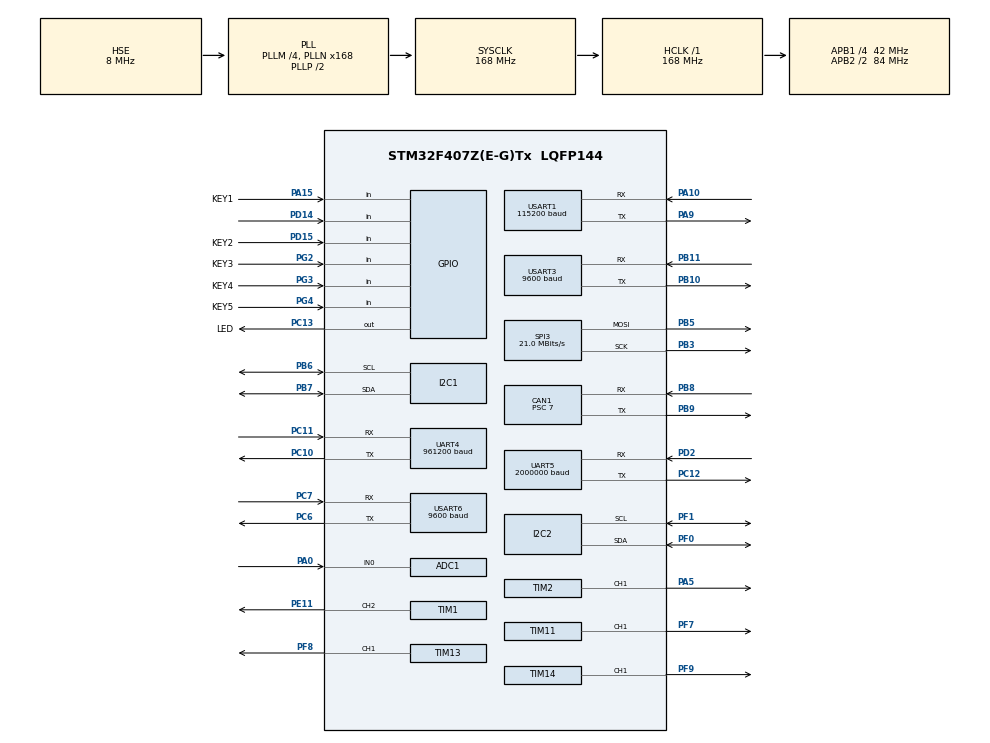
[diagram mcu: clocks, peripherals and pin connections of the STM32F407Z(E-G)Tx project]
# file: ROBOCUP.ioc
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ADC1.Channel-0\#ChannelRegularConversion=ADC_CHANNEL_0
ADC1.NbrOfConversionFlag=1
ADC1.Rank-0\#ChannelRegularConversion=1
ADC1.SamplingTime-0\#ChannelRegularConversion=ADC_SAMPLETIME_3CYCLES
ADC1.master=1
CAN1.ABOM=ENABLE
CAN1.BS1=CAN_BS1_4TQ
CAN1.CalculateBaudRate=999999
CAN1.CalculateTimeBit=1000
CAN1.CalculateTimeQuantum=166.66666666666669
CAN1.Prescaler=7
Dma.Request0=USART1_RX
Dma.Request1=USART1_TX
Dma.Request2=UART4_RX
Dma.Request3=UART4_TX
Dma.Request4=USART6_RX
Dma.Request5=USART6_TX
Dma.Request6=UART5_TX
Dma.Request7=UART5_RX
Dma.UART4_RX.2.Direction=DMA_PERIPH_TO_MEMORY
Dma.UART4_RX.2.FIFOMode=DMA_FIFOMODE_DISABLE
Dma.UART4_RX.2.Instance=DMA1_Stream2
Dma.UART4_RX.2.MemDataAlignment=DMA_MDATAALIGN_BYTE
Dma.UART4_RX.2.MemInc=DMA_MINC_ENABLE
Dma.UART4_RX.2.Mode=DMA_NORMAL
Dma.UART4_RX.2.PeriphDataAlignment=DMA_PDATAALIGN_BYTE
Dma.UART4_RX.2.PeriphInc=DMA_PINC_DISABLE
Dma.UART4_RX.2.Priority=DMA_PRIORITY_MEDIUM
Dma.UART4_TX.3.Direction=DMA_MEMORY_TO_PERIPH
Dma.UART4_TX.3.FIFOMode=DMA_FIFOMODE_DISABLE
Dma.UART4_TX.3.Instance=DMA1_Stream4
Dma.UART4_TX.3.MemDataAlignment=DMA_MDATAALIGN_BYTE
Dma.UART4_TX.3.MemInc=DMA_MINC_ENABLE
Dma.UART4_TX.3.Mode=DMA_NORMAL
Dma.UART4_TX.3.PeriphDataAlignment=DMA_PDATAALIGN_BYTE
Dma.UART4_TX.3.PeriphInc=DMA_PINC_DISABLE
Dma.UART4_TX.3.Priority=DMA_PRIORITY_MEDIUM
Dma.UART5_RX.7.Direction=DMA_PERIPH_TO_MEMORY
Dma.UART5_RX.7.FIFOMode=DMA_FIFOMODE_DISABLE
Dma.UART5_RX.7.Instance=DMA1_Stream0
Dma.UART5_RX.7.MemDataAlignment=DMA_MDATAALIGN_BYTE
Dma.UART5_RX.7.MemInc=DMA_MINC_ENABLE
Dma.UART5_RX.7.Mode=DMA_NORMAL
Dma.UART5_RX.7.PeriphDataAlignment=DMA_PDATAALIGN_BYTE
Dma.UART5_RX.7.PeriphInc=DMA_PINC_DISABLE
Dma.UART5_RX.7.Priority=DMA_PRIORITY_HIGH
Dma.UART5_TX.6.Direction=DMA_MEMORY_TO_PERIPH
Dma.UART5_TX.6.FIFOMode=DMA_FIFOMODE_DISABLE
Dma.UART5_TX.6.Instance=DMA1_Stream7
Dma.UART5_TX.6.MemDataAlignment=DMA_MDATAALIGN_BYTE
Dma.UART5_TX.6.MemInc=DMA_MINC_ENABLE
Dma.UART5_TX.6.Mode=DMA_NORMAL
Dma.UART5_TX.6.PeriphDataAlignment=DMA_PDATAALIGN_BYTE
Dma.UART5_TX.6.PeriphInc=DMA_PINC_DISABLE
Dma.UART5_TX.6.Priority=DMA_PRIORITY_HIGH
Dma.USART1_RX.0.Direction=DMA_PERIPH_TO_MEMORY
Dma.USART1_RX.0.FIFOMode=DMA_FIFOMODE_DISABLE
Dma.USART1_RX.0.Instance=DMA2_Stream5
Dma.USART1_RX.0.MemDataAlignment=DMA_MDATAALIGN_BYTE
Dma.USART1_RX.0.MemInc=DMA_MINC_ENABLE
Dma.USART1_RX.0.Mode=DMA_NORMAL
Dma.USART1_RX.0.PeriphDataAlignment=DMA_PDATAALIGN_BYTE
Dma.USART1_RX.0.PeriphInc=DMA_PINC_DISABLE
Dma.USART1_RX.0.Priority=DMA_PRIORITY_MEDIUM
Dma.USART1_TX.1.Direction=DMA_MEMORY_TO_PERIPH
Dma.USART1_TX.1.FIFOMode=DMA_FIFOMODE_DISABLE
Dma.USART1_TX.1.Instance=DMA2_Stream7
Dma.USART1_TX.1.MemDataAlignment=DMA_MDATAALIGN_BYTE
Dma.USART1_TX.1.MemInc=DMA_MINC_ENABLE
Dma.USART1_TX.1.Mode=DMA_NORMAL
Dma.USART1_TX.1.PeriphDataAlignment=DMA_PDATAALIGN_BYTE
Dma.USART1_TX.1.PeriphInc=DMA_PINC_DISABLE
Dma.USART1_TX.1.Priority=DMA_PRIORITY_MEDIUM
Dma.USART6_RX.4.Direction=DMA_PERIPH_TO_MEMORY
Dma.USART6_RX.4.FIFOMode=DMA_FIFOMODE_DISABLE
Dma.USART6_RX.4.Instance=DMA2_Stream1
Dma.USART6_RX.4.MemDataAlignment=DMA_MDATAALIGN_BYTE
Dma.USART6_RX.4.MemInc=DMA_MINC_ENABLE
Dma.USART6_RX.4.Mode=DMA_NORMAL
Dma.USART6_RX.4.PeriphDataAlignment=DMA_PDATAALIGN_BYTE
Dma.USART6_RX.4.PeriphInc=DMA_PINC_DISABLE
Dma.USART6_RX.4.Priority=DMA_PRIORITY_LOW
Dma.USART6_TX.5.Direction=DMA_MEMORY_TO_PERIPH
Dma.USART6_TX.5.FIFOMode=DMA_FIFOMODE_DISABLE
Dma.USART6_TX.5.Instance=DMA2_Stream6
Dma.USART6_TX.5.MemDataAlignment=DMA_MDATAALIGN_BYTE
Dma.USART6_TX.5.MemInc=DMA_MINC_ENABLE
Dma.USART6_TX.5.Mode=DMA_NORMAL
Dma.USART6_TX.5.PeriphDataAlignment=DMA_PDATAALIGN_BYTE
Dma.USART6_TX.5.PeriphInc=DMA_PINC_DISABLE
Dma.USART6_TX.5.Priority=DMA_PRIORITY_LOW
FREERTOS.INCLUDE_vTaskDelayUntil=1
FREERTOS.Tasks01=defaultTask,0,128,StartDefaultTask,Default,NULL,Dynamic,NULL,NULL
Mcu.Family=STM32F4
Mcu.Name=STM32F407Z(E-G)Tx
Mcu.Package=LQFP144
NVIC.ADC_IRQn=true\:5\:0\:true\:false\:true\:true\:true\:true\:true
NVIC.CAN1_RX0_IRQn=true\:5\:0\:false\:false\:true\:true\:true\:true\:true
NVIC.DMA1_Stream0_IRQn=true\:5\:0\:true\:false\:true\:true\:false\:true\:true
NVIC.DMA1_Stream2_IRQn=true\:5\:0\:true\:false\:true\:true\:false\:true\:true
NVIC.DMA1_Stream4_IRQn=true\:5\:0\:true\:false\:true\:true\:false\:true\:true
NVIC.DMA1_Stream7_IRQn=true\:5\:0\:true\:false\:true\:true\:false\:true\:true
NVIC.DMA2_Stream1_IRQn=true\:5\:0\:true\:false\:true\:true\:false\:true\:true
NVIC.DMA2_Stream5_IRQn=true\:5\:0\:true\:false\:true\:true\:false\:true\:true
NVIC.DMA2_Stream6_IRQn=true\:5\:0\:true\:false\:true\:true\:false\:true\:true
NVIC.DMA2_Stream7_IRQn=true\:5\:0\:true\:false\:true\:true\:false\:true\:true
NVIC.PriorityGroup=NVIC_PRIORITYGROUP_4
NVIC.TIM6_DAC_IRQn=true\:5\:0\:true\:false\:true\:true\:true\:true\:true
NVIC.TIM8_BRK_TIM12_IRQn=true\:15\:0\:false\:false\:true\:false\:false\:true\:true
NVIC.TIM8_UP_TIM13_IRQn=true\:5\:0\:false\:false\:true\:false\:false\:true\:true
NVIC.TimeBase=TIM8_BRK_TIM12_IRQn
NVIC.TimeBaseIP=TIM12
NVIC.UART4_IRQn=true\:5\:0\:true\:false\:true\:true\:true\:true\:true
NVIC.UART5_IRQn=true\:5\:0\:true\:false\:true\:true\:true\:true\:true
NVIC.USART1_IRQn=true\:5\:0\:true\:false\:true\:true\:true\:true\:true
NVIC.USART3_IRQn=true\:5\:0\:true\:false\:true\:true\:true\:true\:true
NVIC.USART6_IRQn=true\:5\:0\:true\:false\:true\:true\:true\:true\:true
PA0-WKUP.Signal=ADCx_IN0
PA10.Mode=Asynchronous
PA10.Signal=USART1_RX
PA13.Mode=Serial_Wire
PA13.Signal=SYS_JTMS-SWDIO
PA14.Mode=Serial_Wire
PA14.Signal=SYS_JTCK-SWCLK
PA15.GPIO_Label=KEY1
PA15.GPIO_PuPd=GPIO_PULLUP
PA15.Signal=GPIO_Input
PA5.Signal=S_TIM2_CH1_ETR
PA9.Mode=Asynchronous
PA9.Signal=USART1_TX
PB10.Mode=Asynchronous
PB10.Signal=USART3_TX
PB11.Mode=Asynchronous
PB11.Signal=USART3_RX
PB3.Mode=TX_Only_Simplex_Unidirect_Master
PB3.Signal=SPI3_SCK
PB5.Mode=TX_Only_Simplex_Unidirect_Master
PB5.Signal=SPI3_MOSI
PB6.Mode=I2C
PB6.Signal=I2C1_SCL
PB7.Mode=I2C
PB7.Signal=I2C1_SDA
PB8.Mode=CAN_Activate
PB8.Signal=CAN1_RX
PB9.Mode=CAN_Activate
PB9.Signal=CAN1_TX
PC10.Mode=Asynchronous
PC10.Signal=UART4_TX
PC11.Mode=Asynchronous
PC11.Signal=UART4_RX
PC12.Mode=Asynchronous
PC12.Signal=UART5_TX
PC13-ANTI_TAMP.GPIO_Label=LED
PC13-ANTI_TAMP.Signal=GPIO_Output
PC14-OSC32_IN.Mode=LSE-External-Oscillator
PC14-OSC32_IN.Signal=RCC_OSC32_IN
PC15-OSC32_OUT.Mode=LSE-External-Oscillator
PC15-OSC32_OUT.Signal=RCC_OSC32_OUT
PC6.Mode=Asynchronous
PC6.Signal=USART6_TX
PC7.Mode=Asynchronous
PC7.Signal=USART6_RX
PD14.GPIO_PuPd=GPIO_PULLUP
PD14.Signal=GPIO_Input
PD15.GPIO_Label=KEY2
PD15.GPIO_PuPd=GPIO_PULLUP
PD15.Signal=GPIO_Input
PD2.Mode=Asynchronous
PD2.Signal=UART5_RX
PE11.Signal=S_TIM1_CH2
PF0.Mode=I2C
PF0.Signal=I2C2_SDA
PF1.Mode=I2C
PF1.Signal=I2C2_SCL
PF7.Signal=S_TIM11_CH1
PF8.Signal=S_TIM13_CH1
PF9.Signal=S_TIM14_CH1
PG2.GPIO_Label=KEY3
PG2.GPIO_PuPd=GPIO_PULLUP
PG2.Signal=GPIO_Input
PG3.GPIO_Label=KEY4
PG3.GPIO_PuPd=GPIO_PULLUP
PG3.Signal=GPIO_Input
PG4.GPIO_Label=KEY5
PG4.GPIO_PuPd=GPIO_PULLUP
PG4.Signal=GPIO_Input
PH0-OSC_IN.Mode=HSE-External-Oscillator
PH0-OSC_IN.Signal=RCC_OSC_IN
PH1-OSC_OUT.Mode=HSE-External-Oscillator
PH1-OSC_OUT.Signal=RCC_OSC_OUT
ProjectManager.HeapSize=0x1000
ProjectManager.StackSize=0x2000
ProjectManager.TargetToolchain=MDK-ARM V5.32
RCC.48MHZClocksFreq_Value=84000000
RCC.AHBFreq_Value=168000000
RCC.APB1CLKDivider=RCC_HCLK_DIV4
RCC.APB1Freq_Value=42000000
RCC.APB1TimFreq_Value=84000000
RCC.APB2CLKDivider=RCC_HCLK_DIV2
RCC.APB2Freq_Value=84000000
RCC.APB2TimFreq_Value=168000000
RCC.CortexFreq_Value=168000000
RCC.HCLKFreq_Value=168000000
RCC.HSE_VALUE=8000000
RCC.HSI_VALUE=16000000
RCC.PLLM=4
RCC.PLLN=168
RCC.PLLSourceVirtual=RCC_PLLSOURCE_HSE
RCC.SYSCLKFreq_VALUE=168000000
RCC.SYSCLKSource=RCC_SYSCLKSOURCE_PLLCLK
RCC.VCOOutputFreq_Value=336000000
SH.ADCx_IN0.0=ADC1_IN0,IN0
SH.S_TIM11_CH1.0=TIM11_CH1,PWM Generation1 CH1
SH.S_TIM13_CH1.0=TIM13_CH1,PWM Generation1 CH1
SH.S_TIM14_CH1.0=TIM14_CH1,PWM Generation1 CH1
SH.S_TIM1_CH2.0=TIM1_CH2,PWM Generation2 CH2
SH.S_TIM2_CH1_ETR.0=TIM2_CH1,PWM Generation1 CH1
SPI3.BaudRatePrescaler=SPI_BAUDRATEPRESCALER_2
SPI3.CLKPhase=SPI_PHASE_1EDGE
SPI3.CLKPolarity=SPI_POLARITY_LOW
SPI3.CalculateBaudRate=21.0 MBits/s
SPI3.DataSize=SPI_DATASIZE_8BIT
SPI3.Direction=SPI_DIRECTION_2LINES
SPI3.FirstBit=SPI_FIRSTBIT_MSB
SPI3.Mode=SPI_MODE_MASTER
SPI3.NSS=SPI_NSS_SOFT
SPI3.VirtualType=VM_MASTER
TIM1.Channel-PWM\ Generation2\ CH2=TIM_CHANNEL_2
TIM1.Period=19999
TIM1.Prescaler=167
TIM1.Pulse-PWM\ Generation2\ CH2=1500
TIM11.Channel=TIM_CHANNEL_1
TIM11.Period=19999
TIM11.Prescaler=167
TIM11.Pulse-PWM\ Generation1\ CH1=1500
TIM13.Channel=TIM_CHANNEL_1
TIM13.Period=19999
TIM13.Prescaler=83
TIM13.Pulse-PWM\ Generation1\ CH1=1500
TIM14.Channel=TIM_CHANNEL_1
TIM14.Period=19999
TIM14.Prescaler=83
TIM14.Pulse-PWM\ Generation1\ CH1=1500
TIM2.Channel-PWM\ Generation1\ CH1=TIM_CHANNEL_1
TIM2.Period=1000-1
TIM2.Prescaler=168-1
TIM2.Pulse-PWM\ Generation1\ CH1=0
TIM6.Period=167
TIM6.Prescaler=4999
UART4.BaudRate=961200
UART4.VirtualMode=Asynchronous
UART5.BaudRate=2000000
UART5.VirtualMode=Asynchronous
USART1.BaudRate=115200
USART1.VirtualMode=VM_ASYNC
USART3.BaudRate=9600
USART3.VirtualMode=VM_ASYNC
USART6.BaudRate=9600
USART6.VirtualMode=VM_ASYNC
VP_FREERTOS_VS_CMSIS_V1.Mode=CMSIS_V1
VP_SYS_VS_tim12.Mode=TIM12
VP_TIM11_VS_ClockSourceINT.Mode=Enable_Timer
VP_TIM13_VS_ClockSourceINT.Mode=Enable_Timer
VP_TIM14_VS_ClockSourceINT.Mode=Enable_Timer
VP_TIM1_VS_ClockSourceINT.Mode=Internal
VP_TIM6_VS_ClockSourceINT.Mode=Enable_Timer
board=custom

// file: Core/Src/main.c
/* USER CODE BEGIN Header */
/**
 ******************************************************************************
 * @file           : main.c
 * @brief          : Main program body
 ******************************************************************************
 * @attention
 *
 * Copyright (c) 2025 STMicroelectronics.
 * All rights reserved.
 *
 * This software is licensed under terms that can be found in the LICENSE file
 * in the root directory of this software component.
 * If no LICENSE file comes with this software, it is provided AS-IS.
 *
 ******************************************************************************
 */
/* USER CODE END Header */
#include "main.h"
#include "cmsis_os.h"
#include "adc.h"
#include "can.h"
#include "dma.h"
#include "i2c.h"
#include "spi.h"
#include "tim.h"
#include "usart.h"
#include "gpio.h"

/* USER CODE BEGIN Includes */
#include "stdio.h"
#include <string.h>
#include "key.h"
#include "lcd_spi_154.h"
#include "control.h"
#include "woniudonghua.h"
#include "usart_manager.h"
#include "userkey.h"
#include "servo.h"
#include "odometer.h"
#include "graysensor.h"
#include "vision.h"
#include "QAma.h"
#include "ai_tune.h"
#include "motion.h"
#include "task1.h"
/* USER CODE END Includes */

/* USER CODE BEGIN PTD */
#if (AI_TUNE_MODE_ENABLE != 0U)
typedef struct {
	float x_mm;
	float y_mm;
	float yaw_deg;
} ai_tune_pose_t;
#endif

/* USER CODE END PTD */

/* USER CODE BEGIN PD */
#if (AI_TUNE_MODE_ENABLE != 0U)
#define AI_TUNE_TRAJECTORY_COUNT 4U
#define AI_TUNE_TRAJECTORY_HOLD_MS 300U
#endif
#define ROBOT_CONTROL_BUDGET_US 1000U

/* USER CODE END PD */

/* USER CODE BEGIN PV */
AppContext_t app_ctx = {
        .qa_tx_buf = {0x7E, 0x00, 0x08, 0x01, 0x00, 0x02, 0x01, 0xAB, 0xCD},
        .gy33_white_balance_cmd = {0xA5, 0xbb, 0x60},
        .gy33_read_cmd = {0xA5, 0xCC, 0x71},
		.gy33_baud_9600_cmd = {0xA5, 0xAE, 0x54},
		.gy33_range_24ms_cmd = {0xA5, 0x5B, 0x00},
        .chassis_velocity_mode = 1,
				.debug_enable = AI_TUNE_MODE_ENABLE,
};
#if (AI_TUNE_MODE_ENABLE != 0U)
static const ai_tune_pose_t ai_tune_trajectory[AI_TUNE_TRAJECTORY_COUNT] = {
		{-1200.0f, 0.0f, 0.0f},
		{-1200.0f, 800.0f, -90.0f},
		{0.0f, 0.0f, -90.0f},
		{0.0f, 0.0f, 0.0f},
};
static uint8_t ai_tune_trajectory_active;
static uint8_t ai_tune_trajectory_index;
static uint32_t ai_tune_trajectory_hold_start_ms;
static uint8_t ai_tune_servo_initialized;
#endif
volatile uint32_t robot_control_current_us;
volatile uint32_t robot_control_max_us;
volatile uint32_t robot_control_overrun_count;
static uint32_t robot_control_cycles_per_us;
/* USER CODE END PV */

void SystemClock_Config(void);
void MX_FREERTOS_Init(void);
/* USER CODE BEGIN PFP */
void Robot_ServiceTick(void);
/* USER CODE END PFP */

/* USER CODE BEGIN 0 */
static void Robot_ControlTiming_Reset(void)
{
	robot_control_current_us = 0U;
	robot_control_max_us = 0U;
	robot_control_overrun_count = 0U;
}

static void Robot_ControlTiming_Init(void)
{
	CoreDebug->DEMCR |= CoreDebug_DEMCR_TRCENA_Msk;
	DWT->CYCCNT = 0U;
	DWT->CTRL |= DWT_CTRL_CYCCNTENA_Msk;
	robot_control_cycles_per_us = SystemCoreClock / 1000000U;
	if (robot_control_cycles_per_us == 0U) {
		robot_control_cycles_per_us = 1U;
	}
	Robot_ControlTiming_Reset();
}

static void Robot_ControlTiming_Update(uint32_t start_cycle)
{
	uint32_t elapsed_us = (DWT->CYCCNT - start_cycle) /
	        robot_control_cycles_per_us;

	robot_control_current_us = elapsed_us;
	if (elapsed_us > robot_control_max_us) {
		robot_control_max_us = elapsed_us;
	}
	if (elapsed_us > ROBOT_CONTROL_BUDGET_US) {
		robot_control_overrun_count++;
	}
}

#if (AI_TUNE_MODE_ENABLE != 0U)
static void ai_tune_start_trajectory(float max_speed_mps)
{
	ai_tune_trajectory_active = 1U;
	ai_tune_trajectory_index = 0U;
	ai_tune_trajectory_hold_start_ms = 0U;
	PositionControl_SetMaxSpeed(max_speed_mps);
	SetTargetPose(ai_tune_trajectory[0].x_mm, ai_tune_trajectory[0].y_mm,
	        ai_tune_trajectory[0].yaw_deg);
}

static void ai_tune_update_trajectory(void)
{
	if (ai_tune_trajectory_active == 0U) {
		return;
	}

	if (ai_tune_is_guarded()) {
		ai_tune_trajectory_active = 0U;
		return;
	}

	if ((ai_tune_trajectory_hold_start_ms == 0U) &&
			(!IsPoseReached(raceh, POSE_YAW_TOLERANCE_DEG))) {
		return;
	}

	if (ai_tune_trajectory_index >= (AI_TUNE_TRAJECTORY_COUNT - 1U)) {
		ai_tune_trajectory_active = 0U;
		Start_flag = 0U;
		PositionControl_Enable(0U);
		EnableAttitudeStabilization(0U);
		stop();
		return;
	}

	if (ai_tune_trajectory_hold_start_ms == 0U) {
		ai_tune_trajectory_hold_start_ms = HAL_GetTick();
		return;
	}

	if ((HAL_GetTick() - ai_tune_trajectory_hold_start_ms) <
	        AI_TUNE_TRAJECTORY_HOLD_MS) {
		return;
	}

	ai_tune_trajectory_index++;
	ai_tune_trajectory_hold_start_ms = 0U;
	SetTargetPose(ai_tune_trajectory[ai_tune_trajectory_index].x_mm,
	        ai_tune_trajectory[ai_tune_trajectory_index].y_mm,
	        ai_tune_trajectory[ai_tune_trajectory_index].yaw_deg);
}
#endif
/* USER CODE END 0 */

int main(void)
{

  /* MCU Configuration--------------------------------------------------------*/

  /* Reset of all peripherals, Initializes the Flash interface and the Systick. */
  HAL_Init();

  /* Configure the system clock */
  SystemClock_Config();

  /* USER CODE BEGIN SysInit */
	Robot_ControlTiming_Init();

  /* USER CODE END SysInit */

  /* Initialize all configured peripherals */
  MX_GPIO_Init();
  MX_DMA_Init();
  MX_I2C1_Init();
  MX_I2C2_Init();
  MX_SPI3_Init();
  MX_UART4_Init();
  MX_UART5_Init();
  MX_USART1_UART_Init();
  MX_USART3_UART_Init();
  MX_USART6_UART_Init();
  MX_TIM1_Init();
  MX_TIM6_Init();
  MX_TIM13_Init();
  MX_TIM11_Init();
  MX_TIM14_Init();
  MX_TIM2_Init();
  MX_ADC1_Init();
  MX_CAN1_Init();
  /* USER CODE BEGIN 2 */
	/* 板载 LCD 用于启动阶段状态提示。 */
	SPI_LCD_Init();
	LCD_Clear();
	LCD_DisplayText(48, 0, "Initting...");

	/* UART4 接入里程计，使用 DMA + IDLE 中断获得完整帧。 */
	Usart4_DMA_IDLE_Init();
	HAL_UART_Receive_DMA(&huart4, (uint8_t *)rxCmd, CMD_LEN);

	/* CAN1 用于 X42 电机和其他 CAN 设备通信。 */
	USER_CAN1_Filter_Init();
	if (HAL_CAN_Start(&hcan1) != HAL_OK) {
		Error_Handler();
	}
	if (HAL_CAN_ActivateNotification(&hcan1,
	        CAN_IT_RX_FIFO0_MSG_PENDING | CAN_IT_TX_MAILBOX_EMPTY) !=
	        HAL_OK) {
		Error_Handler();
	}
	task1_state.active = 0;
	task1_state.completed = 0;
	task2_state.active = 0;
	task2_state.completed = 0;
	/* 麦轮几何参数和速度上限在启动时写入控制模块。 */
	ChassisConfig_t config = {.wheel_radius = 0.077f,
	        .wheel_dist_x = 0.0759f,
	        .wheel_dist_y = 0.085f,
	        .max_rpm = CHASSIS_OPEN_LOOP_MAX_RPM};
	Mecanum_Init(config);
	/* 复位后立即下发四轮 0 RPM，清除电机保留的上一条速度指令。 */
	Mecanum_SendVelocity();
//					Emm_V5_Pos_Control(TURNPLATE_MOTOR_ADDR, TURNPLATE_CW,
//	        TURNPLATE_SPEED_RPM, TURNPLATE_ACCEL,
//	        0, 1U, 0U);
//	Emm_V5_En_Control(TURNPLATE_MOTOR_ADDR, 1U, 0U);
	HAL_Delay(5U);
#if (TURNPLATE_ORIGIN_SAVE_ON_STARTUP != 0U)
	Emm_V5_Origin_Set_O(TURNPLATE_MOTOR_ADDR, 1U);
#else
//	Emm_V5_Origin_Trigger_Return(TURNPLATE_sMOTOR_ADDR,
//	        TURNPLATE_ORIGIN_MODE, 0U);
//					Emm_V5_Origin_Modify_Params(TURNPLATE_MOTOR_ADDR, 1U, 0, 0, );
#endif

	/* 等待里程计上电后进入稳定输出，再初始化零点状态。 */
	HAL_Delay(2000);
					Emm_V5_Origin_Interrupt(TURNPLATE_MOTOR_ADDR);
										HAL_Delay(100);
					Emm_V5_Pos_Control(TURNPLATE_MOTOR_ADDR, TURNPLATE_CW,
	        TURNPLATE_SPEED_RPM, TURNPLATE_ACCEL,
	        control_ctx.material_position_pulses[1] , 1U, 0U);
	turnplate_sync_position(1U);
	odometer_init();
	/* 控制环模块初始化：视觉、位置、位姿协同和姿态环。 */
	vision_init();
	ai_tune_init();
	PositionControl_Init();
	PoseCoordination_Init();
	AttitudeStabilization_Init();
	memset(rx_data, 0, sizeof(rx_data));
	/* USART3 颜色传感器按字节中断接收。 */
	HAL_UART_Receive_IT(&huart3, rx_data, 1);
	/* USART3 颜色传感器白平衡校准。 */
//	HAL_UART_Transmit(&huart3, gy33sendbuffer1, APP_GY33_CMD_LEN, 100U);
	/* GY-33 固定为 9600 bps，并将采集量程设置为 24 ms。 */
//	HAL_UART_Transmit(&huart3, gy33baudbuffer,
//	        APP_GY33_CMD_LEN, 100U);
//	HAL_UART_Transmit(&huart3, gy33rangebuffer,
//	        APP_GY33_CMD_LEN, 100U);
	vision_enable(0U);
	IsLight = 1U;
//	servo_init();
	LCD_DisplayText(48, 0, "Init Success!");
					HAL_TIM_PWM_Start(&htim11,TIM_CHANNEL_1);		//0	PF7
					HAL_TIM_PWM_Start(&htim2,TIM_CHANNEL_1);		//4	PE11
					__HAL_TIM_SetCompare(&htim2, TIM_CHANNEL_1, 150);
	HAL_Delay(100);
	/* 已完成 2 s 里程计稳定等待，补足 8 s 后发送最后一条初始化指令。 */
	HAL_Delay(ODOMETER_ZERO_FINAL_WAIT_MS);
	(void)odometer_request_zero();

  /* USER CODE END 2 */

  /* Call init function for freertos objects (in cmsis_os2.c) */
  MX_FREERTOS_Init();

  /* Start scheduler */
  osKernelStart();

  /* We should never get here as control is now taken by the scheduler */

  /* Infinite loop */
  /* USER CODE BEGIN WHILE */
	while (1) {
		HAL_Delay(100);

    /* USER CODE END WHILE */

	}
}

void SystemClock_Config(void)
{
  RCC_OscInitTypeDef RCC_OscInitStruct = {0};
  RCC_ClkInitTypeDef RCC_ClkInitStruct = {0};

  /** Configure the main internal regulator output voltage
  */
  __HAL_RCC_PWR_CLK_ENABLE();
  __HAL_PWR_VOLTAGESCALING_CONFIG(PWR_REGULATOR_VOLTAGE_SCALE1);

  /** Initializes the RCC Oscillators according to the specified parameters
  * in the RCC_OscInitTypeDef structure.
  */
  RCC_OscInitStruct.OscillatorType = RCC_OSCILLATORTYPE_HSE;
  RCC_OscInitStruct.HSEState = RCC_HSE_ON;
  RCC_OscInitStruct.PLL.PLLState = RCC_PLL_ON;
  RCC_OscInitStruct.PLL.PLLSource = RCC_PLLSOURCE_HSE;
  RCC_OscInitStruct.PLL.PLLM = 4;
  RCC_OscInitStruct.PLL.PLLN = 168;
  RCC_OscInitStruct.PLL.PLLP = RCC_PLLP_DIV2;
  RCC_OscInitStruct.PLL.PLLQ = 4;
  if (HAL_RCC_OscConfig(&RCC_OscInitStruct) != HAL_OK)
  {
    Error_Handler();
  }

  /** Initializes the CPU, AHB and APB buses clocks
  */
  RCC_ClkInitStruct.ClockType = RCC_CLOCKTYPE_HCLK|RCC_CLOCKTYPE_SYSCLK
                              |RCC_CLOCKTYPE_PCLK1|RCC_CLOCKTYPE_PCLK2;
  RCC_ClkInitStruct.SYSCLKSource = RCC_SYSCLKSOURCE_PLLCLK;
  RCC_ClkInitStruct.AHBCLKDivider = RCC_SYSCLK_DIV1;
  RCC_ClkInitStruct.APB1CLKDivider = RCC_HCLK_DIV4;
  RCC_ClkInitStruct.APB2CLKDivider = RCC_HCLK_DIV2;

  if (HAL_RCC_ClockConfig(&RCC_ClkInitStruct, FLASH_LATENCY_5) != HAL_OK)
  {
    Error_Handler();
  }
}

/* USER CODE BEGIN 4 */
#if (AI_TUNE_MODE_ENABLE != 0U)
static void Robot_HandleDebugModeTransition(void) {
	static uint8_t initialized = 0U;
	static uint8_t previous_debug;

	if (!initialized) {
		previous_debug = debug;
		initialized = 1U;
		return;
	}
	if (previous_debug == debug) {
		return;
	}

	previous_debug = debug;
	Start_flag = 0U;
	task2_start_pending = 0U;
	task2_zero_confirm_time_ms = 0U;
	task1_state.active = 0U;
				 task2_state.active = 0U;
	PositionControl_Enable(0U);
	EnableAttitudeStabilization(0U);
	vision_enable(0U);
	stop();
	Mecanum_SendVelocity();
}
#endif

void Robot_RealtimeControl(float dt) {
	if (dt > 0.0f) {
		uint32_t control_start_cycle = DWT->CYCCNT;

		/* FreeRTOS 固定周期任务调用本函数，dt 为控制周期秒数。 */
#if (AI_TUNE_MODE_ENABLE != 0U)
		ai_tune_poll();
		Robot_HandleDebugModeTransition();
#endif
		led_count++;
		timcount++;
		if (camtim_button) {
			camtim += TIM6_TICK_MS;
		}
		Update_Materialcolor();
		motion_path_update(dt);
		UpdatePoseCoordination(dt);
		if (is_position_control_enabled) {
			UpdatePositionControl(dt);
		}
		task1_arc_control_update(dt);
		task1_podium_prepare_update();
#if (AI_TUNE_MODE_ENABLE != 0U)
		ai_tune_update_trajectory();
		{
			float target_x_mm;
			float target_y_mm;
			float max_speed_mps;

			if ((debug != 0U) && ai_tune_take_start(&target_x_mm, &target_y_mm,
			        &max_speed_mps)) {
				(void)target_x_mm;
				(void)target_y_mm;
				if (ai_tune_servo_initialized == 0U) {
					servo_init();
					ai_tune_servo_initialized = 1U;
				}
				Servo_Action_Group(2U);
				task2_start_pending = 0U;
				task1_state.active = 0U;
				task1_state.completed = 0U;
				task2_state.active = 0U;
				task2_state.completed = 0U;
				Robot_ControlTiming_Reset();
				Start_flag = 1U;
				ai_tune_start_trajectory(max_speed_mps);
			}
		}
		if (!is_position_control_enabled) {
			ai_tune_telemetry_t telemetry = {
			        .time_ms = HAL_GetTick(),
			        .target_x_m = position_control.target_x * 0.001f,
			        .target_y_m = position_control.target_y * 0.001f,
			        .position_x_m = odometer_ctx.pose.pos_x_mm * 0.001f,
			        .position_y_m = odometer_ctx.pose.pos_y_mm * 0.001f,
			        .target_yaw_deg = attitude_control.target_yaw,
			        .yaw_deg = odometer_get_yaw_deg(),
			        .error_x_local_m = control_ctx.error_x_local_m,
			        .error_y_local_m = control_ctx.error_y_local_m,
			        .velocity_x_mps = odometer_ctx.motion.vel_x_mps,
			        .velocity_y_mps = odometer_ctx.motion.vel_y_mps,
			        .motor_rpm = {motor1.speed_rpm, motor2.speed_rpm,
			                motor3.speed_rpm, motor4.speed_rpm},
			        .position_reached = IsPositionControlFinished(raceh),
			};

			ai_tune_send_telemetry(&telemetry);
		}
#endif
		UpdateAttitudeStabilization(dt);
		vision_process_usart1_packet();
		if (cam_stabilization.is_enabled) {

			vision_update(dt);
		}
		TargetVelocity_t current_target = target_velocity;
		if (!Start_flag) {
			current_target.vx = 0.0f;
			current_target.vy = 0.0f;
			current_target.omega = 0.0f;
		}

		/* 速度目标统一进入麦轮逆解，再由 X42 速度模式发送。 */
		Mecanum_Kinematics(current_target.vx, current_target.vy,
		        current_target.omega);
		if (Is_vel_mode) {
			if ((led_count % MOTOR_CMD_DIVIDER) == 0U) {
				Mecanum_SendVelocity();
			}
		}
		if (led_count >= STATUS_TICK_DIVIDER) {
			/* 状态周期任务：发送视觉模式并翻转 LED 表示系统运行。 */
			HAL_UART_Transmit_IT(
			        &huart1, &cammode, sizeof(cammode));
			HAL_GPIO_TogglePin(LED_GPIO_Port, LED_Pin);
			led_count = 0;
		}
		/* 串口 DMA 周期性重启，维持 MaixCam 接收链路。 */
		DMA_resend();
		if (IsLight)
			__HAL_TIM_SetCompare(&htim2, TIM_CHANNEL_1, 150);
		else
			__HAL_TIM_SetCompare(&htim2, TIM_CHANNEL_1, 0);
		Robot_ControlTiming_Update(control_start_cycle);
	}
}
void Robot_ServiceTick(void) {
	/* 低频服务任务处理 LCD、按键和任务一状态机。 */
#if (AI_TUNE_MODE_ENABLE != 0U)
	Robot_HandleDebugModeTransition();
#endif
	LCD_DisplayNumber(0, 20, timcount, 6);

#if (AI_TUNE_MODE_ENABLE == 0U)
	Key_Tick();
	if (Key_Num == 1) {
		Key_Num = 0U;
		Start_flag = 0U;
		task2_start_pending = odometer_request_zero();
		task2_zero_confirm_time_ms = 0U;
		tasknum = 1U;
		task1_state.active = 0U;
		task1_state.completed = 0U;
		task2_state.active = 0U;
		task2_state.completed = 0U;
		EnableAttitudeStabilization(1U);
		SetTargetYaw(0.0f);
	}
	if ((task2_start_pending == 1U) && odometer_is_zeroed()) {
		task2_start_pending = 2U;
		task2_zero_confirm_time_ms = HAL_GetTick();
	}
	if ((task2_start_pending == 2U) &&
	        ((HAL_GetTick() - task2_zero_confirm_time_ms) >=
	                TASK2_ZERO_SETTLE_MS)) {
		task2_start_pending = 0U;
		Start_flag = 1U;
		start_task1();
	}
	run_task1();
#endif
}

int abs_int(int int1) {
	if (int1 > 0)
		return int1;
	return (-int1);
}

float abs_float(float value) {
	if (value > 0) {
		return value;
	}
	return (-value);
}

/* USER CODE END 4 */

void HAL_TIM_PeriodElapsedCallback(TIM_HandleTypeDef *htim)
{
  if (htim->Instance == TIM12) {
    HAL_IncTick();
  }
}

void Error_Handler(void)
{
  /* USER CODE BEGIN Error_Handler_Debug */
	/* User can add his own implementation to report the HAL error return
	 * state */
	__disable_irq();
	while (1) {
	}
  /* USER CODE END Error_Handler_Debug */
}

#ifdef  USE_FULL_ASSERT
/**
  * @brief  Reports the name of the source file and the source line number
  *         where the assert_param error has occurred.
  * @param  file: pointer to the source file name
  * @param  line: assert_param error line source number
  * @retval None
  */
void assert_failed(uint8_t *file, uint32_t line)
{
  /* USER CODE BEGIN 6 */
	/* User can add his own implementation to report the file name and line
	   number, ex: printf("Wrong parameters value: file %s on line %d\r\n",
	   file, line) */
  /* USER CODE END 6 */
}
#endif /* USE_FULL_ASSERT */

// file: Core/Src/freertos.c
/* USER CODE BEGIN Header */
/**
 ******************************************************************************
 * File Name          : freertos.c
 * Description        : Code for freertos applications
 ******************************************************************************
 * @attention
 *
 * Copyright (c) 2026 STMicroelectronics.
 * All rights reserved.
 *
 * This software is licensed under terms that can be found in the LICENSE file
 * in the root directory of this software component.
 * If no LICENSE file comes with this software, it is provided AS-IS.
 *
 ******************************************************************************
 */
/* USER CODE END Header */

#include "FreeRTOS.h"
#include "task.h"
#include "main.h"
#include "cmsis_os.h"

/* USER CODE BEGIN Variables */
osThreadId controlTaskHandle;

/* USER CODE END Variables */
osThreadId defaultTaskHandle;

/* USER CODE BEGIN FunctionPrototypes */
void StartControlTask(void const *argument);

/* USER CODE END FunctionPrototypes */

void StartDefaultTask(void const * argument);

void MX_FREERTOS_Init(void); /* (MISRA C 2004 rule 8.1) */

/* GetIdleTaskMemory prototype (linked to static allocation support) */
void vApplicationGetIdleTaskMemory( StaticTask_t **ppxIdleTaskTCBBuffer, StackType_t **ppxIdleTaskStackBuffer, uint32_t *pulIdleTaskStackSize );

/* USER CODE BEGIN GET_IDLE_TASK_MEMORY */
static StaticTask_t xIdleTaskTCBBuffer;
static StackType_t xIdleStack[configMINIMAL_STACK_SIZE];

void vApplicationGetIdleTaskMemory(StaticTask_t **ppxIdleTaskTCBBuffer,
        StackType_t **ppxIdleTaskStackBuffer, uint32_t *pulIdleTaskStackSize) {
	*ppxIdleTaskTCBBuffer = &xIdleTaskTCBBuffer;
	*ppxIdleTaskStackBuffer = &xIdleStack[0];
	*pulIdleTaskStackSize = configMINIMAL_STACK_SIZE;
	/* place for user code */
}
/* USER CODE END GET_IDLE_TASK_MEMORY */

void MX_FREERTOS_Init(void) {

  /* Create the thread(s) */
  /* definition and creation of defaultTask */
  osThreadDef(defaultTask, StartDefaultTask, osPriorityNormal, 0, 128);
  defaultTaskHandle = osThreadCreate(osThread(defaultTask), NULL);

  /* USER CODE BEGIN RTOS_THREADS */
	/* add threads, ... */
	osThreadDef(controlTask, StartControlTask, osPriorityRealtime, 0, 256);
	controlTaskHandle = osThreadCreate(osThread(controlTask), NULL);
  /* USER CODE END RTOS_THREADS */

}

void StartDefaultTask(void const * argument)
{
  /* USER CODE BEGIN StartDefaultTask */
	/* Infinite loop */
	for (;;) {
		Robot_ServiceTick();
		osDelay(3);
	}
  /* USER CODE END StartDefaultTask */
}

/* USER CODE BEGIN Application */
void StartControlTask(void const *argument) {
	const TickType_t period = pdMS_TO_TICKS(1);
	TickType_t last_wake = xTaskGetTickCount();

	(void)argument;

	for (;;) {
		Robot_RealtimeControl(0.001f);
		vTaskDelayUntil(&last_wake, period);
	}
}

/* USER CODE END Application */
